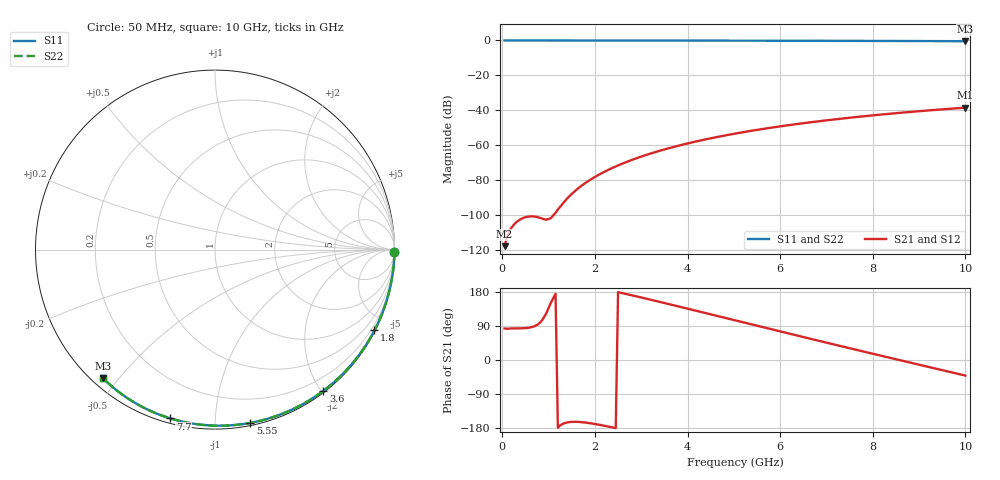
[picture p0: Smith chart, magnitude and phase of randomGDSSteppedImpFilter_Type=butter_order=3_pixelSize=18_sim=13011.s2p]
! freq	dB(S11)	phase(S11)	dB(S12)	phase(S12)
!  dB(S21)	phase(S21)	dB(S22)	phase(S22)
!S-par simulation data
#  GHz  S  DB  R 50
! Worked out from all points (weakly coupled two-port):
!   200 points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, 50 MHz to 10 GHz, reference 50 ohm
!   highest |S21| = -38.43 dB at 10 GHz (marker M1); lowest = -117.7 dB at 50 MHz (marker M2)
!   lowest |S11| = -0.4 dB at 10 GHz (marker M3), VSWR 39.19, Z = 1.54 - j22.7 ohm
!   |S11| at or under -10 dB: nowhere
!   |S22| runs from -0.4 to 0.0 dB; largest |S21 - S12| = 0
!   S11 on the Smith chart (normalised r, x): 50 MHz: open; 1.8 GHz: 0.04, -4.19; 3.6 GHz: 0.02, -2.03; 5.55 GHz: 0.02, -1.22; 7.7 GHz: 0.02, -0.77; 10 GHz: 0.03, -0.45
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0.05  -0.00 -0.8  -117.71 83.0  -117.71 83.0  -0.00 -0.8
0.9  -0.02 -13.6  -102.27 112.8  -102.27 112.8  -0.02 -13.6
1.75  -0.03 -26.1  -82.38 -164.5  -82.38 -164.5  -0.03 -26.1
1.8  -0.03 -26.9  -81.44 -165.2  -81.44 -165.2  -0.03 -26.9
1.85  -0.04 -27.6  -80.56 -166.0  -80.56 -166.0  -0.04 -27.6
1.9  -0.04 -28.3  -79.70 -166.9  -79.70 -166.9  -0.04 -28.3
2.05  -0.04 -30.5  -77.34 -170.0  -77.34 -170.0  -0.04 -30.5
2.25  -0.04 -33.4  -74.54 -174.6  -74.54 -174.6  -0.04 -33.4
2.45  -0.05 -36.3  -72.07 -179.7  -72.07 -179.7  -0.05 -36.3
2.65  -0.05 -39.2  -69.85 174.9  -69.85 174.9  -0.05 -39.2
3  -0.06 -44.1  -66.45 165.0  -66.45 165.0  -0.06 -44.1
3.4  -0.07 -49.7  -63.11 153.4  -63.11 153.4  -0.07 -49.7
3.6  -0.07 -52.5  -61.62 147.4  -61.62 147.4  -0.07 -52.5
4.3  -0.09 -62.1  -57.11 126.5  -57.11 126.5  -0.09 -62.1
5.05  -0.11 -72.0  -53.19 104.0  -53.19 104.0  -0.11 -72.0
5.55  -0.13 -78.4  -50.95 88.9  -50.95 88.9  -0.13 -78.4
6.1  -0.15 -85.4  -48.77 72.5  -48.77 72.5  -0.15 -85.4
6.7  -0.18 -92.8  -46.66 54.6  -46.66 54.6  -0.18 -92.8
7.7  -0.24 -104.8  -43.66 25.2  -43.66 25.2  -0.24 -104.8
8.35  -0.29 -112.3  -41.98 6.3  -41.98 6.3  -0.29 -112.3
9.15  -0.36 -121.5  -40.14 -16.7  -40.14 -16.7  -0.36 -121.5
10  -0.44 -131.1  -38.43 -41.1  -38.43 -41.1  -0.44 -131.1
